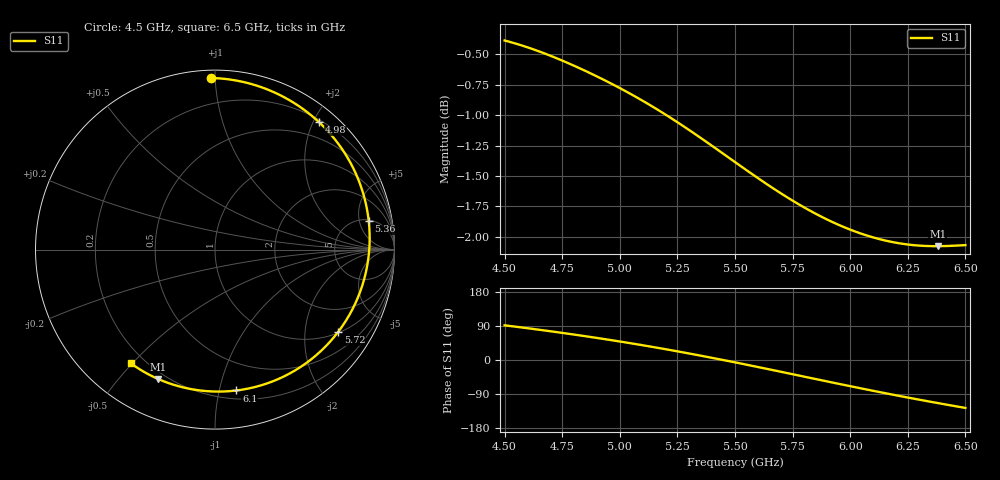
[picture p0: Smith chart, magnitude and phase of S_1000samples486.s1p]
! TOUCHSTONE file generated by CST MICROWAVE STUDIO
! Date and time: Fri Oct 28 08:07:28 2022
! Project name: L.cst
! Parameters = {Di=1.27; Epsilon_r=1.56; InnerDiameter=1.27; Length=2; Lf=10; Lg=60; OuterConductorThickness=0.2921; OuterDiameter=3.6; Wf=3; Wp=41.2; de=1.5; df=6.8; g=0.8; gx=4.39971; gy=2.79825; h=2.34; hf=1.524; px=11.2384; py=10.259; w=9.7; wx=6.83869; wy=7.46078}
! Header version: 2018
! Port assignment regex: !\s*Touchstone port\s*([0-9]+)\s*=\s*(CST MWS port|CST DS port)\s*([0-9]+|Zmin|Zmax)\s*\(\"(.*)\"\)(\s*mode\s*([0-9]+))?.*
! Touchstone port assignment:
! Touchstone port 1 = CST MWS port 1 ("")
# GHz S DB R 50
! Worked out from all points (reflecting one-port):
!   101 points, 4.5 GHz to 6.5 GHz, reference 50 ohm
!   lowest |S11| = -2.1 dB at 6.38 GHz (marker M1), VSWR 8.41, Z = 8.44 - j32 ohm
!   phase of S11 starts at 92 deg and turns -218 deg over the sweep
!   S11 on the Smith chart (normalised r, x): 4.5 GHz: 0.04, +0.97; 4.98 GHz: 0.24, +2.09; 5.36 GHz: 5.33, +6.95; 5.72 GHz: 1.04, -2.97; 6.1 GHz: 0.27, -1.13; 6.5 GHz: 0.15, -0.50
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4.5  -0.39 91.5
4.58  -0.43 85.4
4.64  -0.47 80.6
4.76  -0.56 70.7
4.88  -0.66 60.1
4.98  -0.76 50.7
5  -0.78 48.8
5.06  -0.84 42.9
5.14  -0.93 34.7
5.2  -1.00 28.3
5.26  -1.07 21.7
5.36  -1.20 10.4
5.44  -1.31 1.0
5.5  -1.39 -6.3
5.6  -1.52 -18.6
5.66  -1.59 -26.1
5.72  -1.67 -33.7
5.76  -1.71 -38.8
5.82  -1.78 -46.4
5.88  -1.84 -54.0
5.94  -1.89 -61.6
6  -1.94 -69.1
6.1  -2.00 -81.4
6.18  -2.04 -90.9
6.26  -2.06 -100.2
6.32  -2.07 -107.0
6.38  -2.08 -113.6
6.5  -2.07 -126.5
